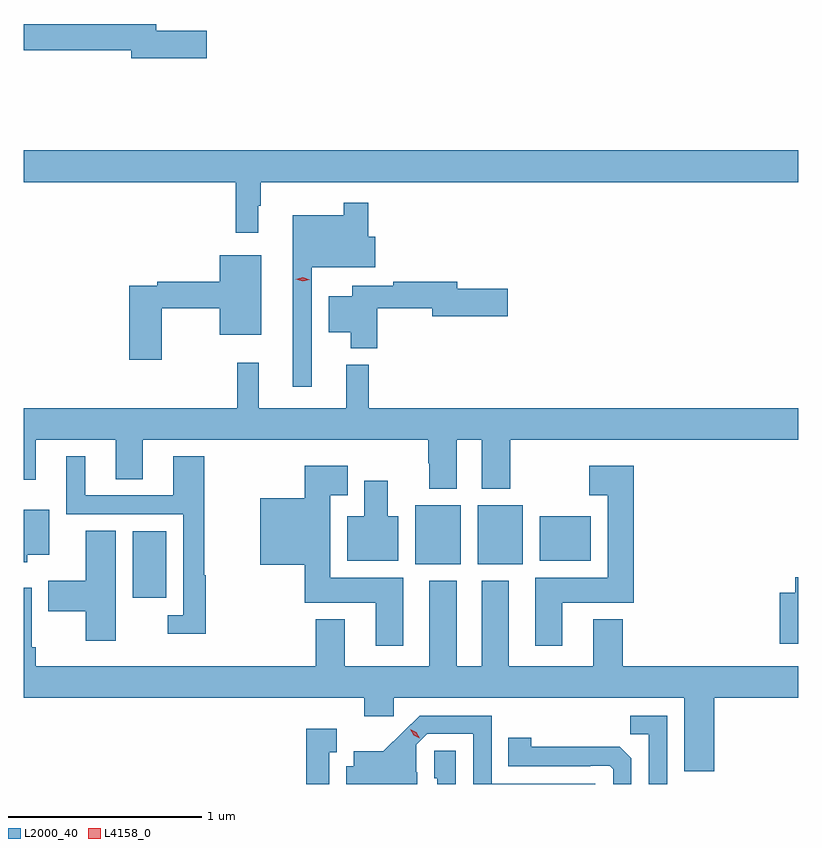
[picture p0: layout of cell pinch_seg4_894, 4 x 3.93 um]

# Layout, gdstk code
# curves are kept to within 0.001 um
import gdstk
lib = gdstk.Library(unit=1e-6, precision=1e-09)
def R(c, l, rs):  # rectangles x0, y0, x1, y1
    for r in rs: c.add(gdstk.rectangle(r[:2], r[2:], *l))
def P(c, l, *ps):  # polygons
    for p in ps: c.add(gdstk.Polygon(p, *l))
L2000_40 = (2000, 40)
L4158_0 = (4158, 0)

pinch_seg4_894 = lib.new_cell('pinch_seg4_894')
R(pinch_seg4_894, L2000_40, [(753.428,826.64,753.601,826.984), (754.889,826.814,755.122,827.119), (755.21,826.814,755.443,827.119), (755.531,826.832,755.794,827.062)])
P(pinch_seg4_894, L2000_40, [(753.811,829.568),(753.55,829.568),(753.55,829.604),(752.866,829.604),(752.866,829.468),(753.422,829.468),(753.422,829.426),(753.811,829.426)],
  [(754.078,828.665),(754.09,828.665),(754.09,828.788),(756.866,828.788),(756.866,828.952),(752.866,828.952),(752.866,828.788),(753.961,828.788),(753.961,828.525),(754.078,828.525)],
  [(754.353,828.347),(754.681,828.347),(754.681,828.505),(754.646,828.505),(754.646,828.682),(754.518,828.682),(754.518,828.616),(754.256,828.616),(754.256,827.73),(754.353,827.73)],
  [(753.58,828.136),(753.878,828.136),(753.878,827.999),(754.093,827.999),(754.093,828.409),(753.878,828.409),(753.878,828.272),(753.556,828.272),(753.556,828.252),(753.41,828.252),(753.41,827.871),(753.58,827.871)],
  [(754.691,828.136),(754.976,828.136),(754.976,828.094),(755.365,828.094),(755.365,828.236),(755.104,828.236),(755.104,828.272),(754.774,828.272),(754.774,828.252),(754.562,828.252),(754.562,828.199),(754.442,828.199),(754.442,828.011),(754.556,828.011),(754.556,827.93),(754.691,827.93)],
  [(755.101,827.456),(755.231,827.456),(755.231,827.204),(755.379,827.204),(755.379,827.456),(756.866,827.456),(756.866,827.62),(754.649,827.62),(754.649,827.845),(754.532,827.845),(754.532,827.62),(754.079,827.62),(754.079,827.854),(753.969,827.854),(753.969,827.62),(752.866,827.62),(752.866,827.25),(752.929,827.25),(752.929,827.456),(753.341,827.456),(753.341,827.254),(753.481,827.254),(753.481,827.456),(754.954,827.456),(754.954,827.336),(754.961,827.336),(754.961,827.204),(755.101,827.204)],
  [(753.806,826.758),(753.799,826.758),(753.799,827.371),(753.638,827.371),(753.638,827.169),(753.184,827.169),(753.184,827.371),(753.086,827.371),(753.086,827.073),(753.69,827.073),(753.69,826.551),(753.609,826.551),(753.609,826.454),(753.806,826.454)],
  [(755.647,826.616),(756.017,826.616),(756.017,827.323),(755.787,827.323),(755.787,827.171),(755.882,827.171),(755.882,826.744),(755.507,826.744),(755.507,826.392),(755.647,826.392)],
  [(754.825,826.744),(754.45,826.744),(754.45,827.171),(754.54,827.171),(754.54,827.323),(754.316,827.323),(754.316,827.155),(754.088,827.155),(754.088,826.811),(754.316,826.811),(754.316,826.616),(754.685,826.616),(754.685,826.392),(754.825,826.392)],
  [(754.801,827.062),(754.747,827.062),(754.747,827.245),(754.625,827.245),(754.625,827.062),(754.538,827.062),(754.538,826.832),(754.801,826.832)],
  [(752.884,826.862),(752.998,826.862),(752.998,827.095),(752.866,827.095),(752.866,826.823),(752.884,826.823)],
  [(753.34,826.988),(753.185,826.988),(753.185,826.729),(752.992,826.729),(752.992,826.571),(753.185,826.571),(753.185,826.419),(753.34,826.419)],
  [(756.866,826.747),(756.851,826.747),(756.851,826.666),(756.77,826.666),(756.77,826.403),(756.866,826.403)],
  [(756.431,826.124),(756.866,826.124),(756.866,826.288),(755.96,826.288),(755.96,826.531),(755.807,826.531),(755.807,826.288),(755.371,826.288),(755.371,826.729),(755.231,826.729),(755.231,826.288),(755.101,826.288),(755.101,826.729),(754.961,826.729),(754.961,826.288),(754.525,826.288),(754.525,826.531),(754.373,826.531),(754.373,826.288),(752.927,826.288),(752.927,826.384),(752.907,826.384),(752.907,826.693),(752.866,826.693),(752.866,826.124),(754.625,826.124),(754.625,826.029),(754.776,826.029),(754.776,826.124),(756.278,826.124),(756.278,825.746),(756.431,825.746)],
  [(754.897,825.74),(754.893,825.74),(754.893,825.882),(754.95,825.939),(755.187,825.939),(755.187,825.679),(755.817,825.679),(755.817,825.681),(755.283,825.681),(755.283,826.032),(754.91,826.032),(754.723,825.847),(754.571,825.847),(754.571,825.771),(754.532,825.771),(754.532,825.679),(754.897,825.679)],
  [(756.189,826.032),(755.998,826.032),(755.998,825.937),(756.093,825.937),(756.093,825.679),(756.189,825.679)],
  [(754.444,825.843),(754.483,825.843),(754.483,825.964),(754.326,825.964),(754.326,825.679),(754.444,825.679)],
  [(756.003,825.812),(755.944,825.871),(755.487,825.872),(755.487,825.919),(755.368,825.919),(755.368,825.771),(755.792,825.771),(755.792,825.774),(755.892,825.774),(755.91,825.756),(755.91,825.679),(756.003,825.679)],
  [(755.097,825.851),(754.986,825.851),(754.986,825.708),(755.001,825.708),(755.001,825.679),(755.097,825.679)])
P(pinch_seg4_894, L4158_0, [(754.91,825.915),(754.879,825.931),(754.862,825.961),(754.862,825.961),(754.863,825.961),(754.893,825.946),(754.91,825.916),(754.91,825.915)],
  [(754.307,828.276),(754.272,828.287),(754.272,828.287),(754.272,828.287),(754.308,828.296),(754.343,828.284),(754.343,828.284),(754.343,828.284)])

lib.write_gds('pinch_seg4_894.gds')
